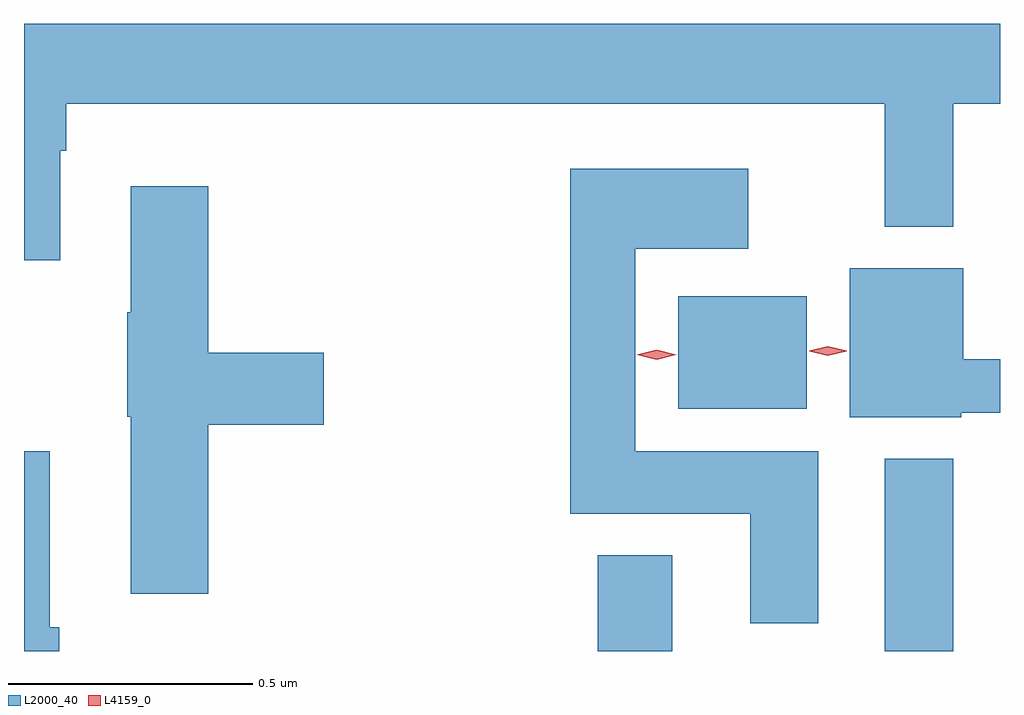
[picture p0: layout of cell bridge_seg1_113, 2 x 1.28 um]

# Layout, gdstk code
import gdstk
lib = gdstk.Library(unit=1e-6, precision=1e-09)
def R(c, l, rs):  # rectangles x0, y0, x1, y1
    for r in rs: c.add(gdstk.rectangle(r[:2], r[2:], *l))
def P(c, l, *ps):  # polygons
    for p in ps: c.add(gdstk.Polygon(p, *l))
L2000_40 = (2000, 40)
L4159_0 = (4159, 0)

bridge_seg1_113 = lib.new_cell('bridge_seg1_113')
R(bridge_seg1_113, L2000_40, [(355.883,581.247,356.035,581.443), (356.471,581.247,356.611,581.641), (356.048,581.744,356.311,581.974)])
P(bridge_seg1_113, L2000_40, [(354.781,582.272),(354.794,582.272),(354.794,582.368),(356.471,582.368),(356.471,582.116),(356.611,582.116),(356.611,582.368),(356.707,582.368),(356.707,582.532),(354.707,582.532),(354.707,582.048),(354.781,582.048)],
  [(356.335,581.656),(355.96,581.656),(355.96,582.071),(356.191,582.071),(356.191,582.235),(355.826,582.235),(355.826,581.528),(356.195,581.528),(356.195,581.304),(356.335,581.304)],
  [(355.085,581.711),(355.321,581.711),(355.321,581.858),(355.085,581.858),(355.085,582.199),(354.926,582.199),(354.926,581.941),(354.919,581.941),(354.919,581.727),(354.926,581.727),(354.926,581.364),(355.085,581.364)],
  [(356.628,581.735),(356.707,581.735),(356.707,581.845),(356.632,581.845),(356.632,582.031),(356.399,582.031),(356.399,581.726),(356.628,581.726)],
  [(354.779,581.296),(354.76,581.296),(354.76,581.656),(354.707,581.656),(354.707,581.247),(354.779,581.247)])
P(bridge_seg1_113, L4159_0, [(356.354,581.852),(356.316,581.861),(356.316,581.862),(356.316,581.862),(356.354,581.872),(356.393,581.862),(356.393,581.862),(356.393,581.861)],
  [(356.004,581.844),(355.963,581.854),(355.963,581.854),(355.963,581.854),(356.004,581.864),(356.044,581.854),(356.044,581.854),(356.044,581.854)])

lib.write_gds('bridge_seg1_113.gds')
